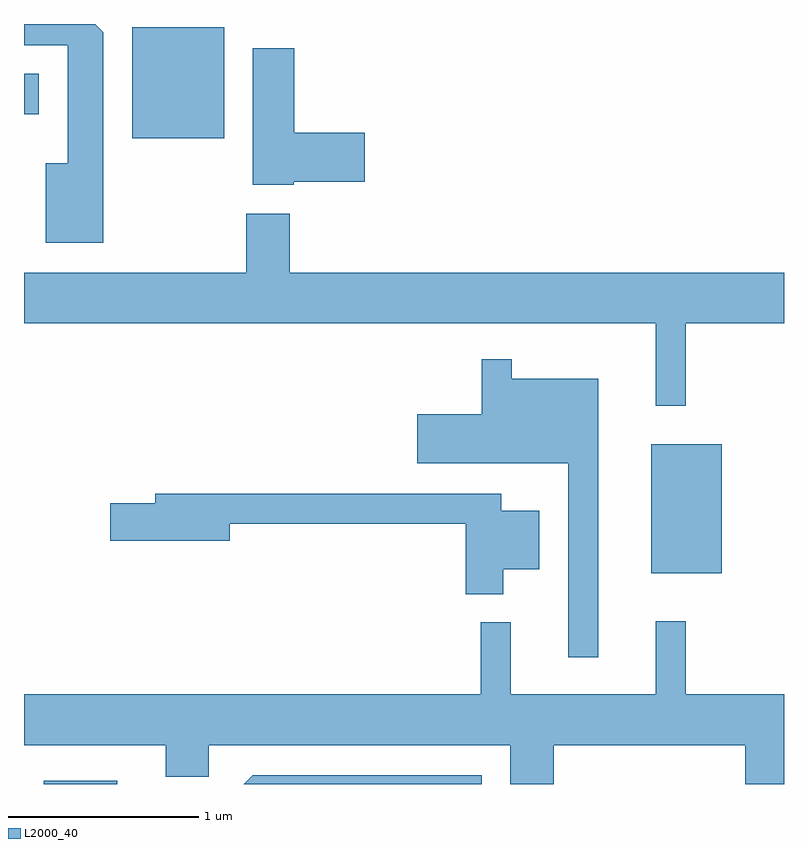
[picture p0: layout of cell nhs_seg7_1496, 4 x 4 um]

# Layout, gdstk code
import gdstk
lib = gdstk.Library(unit=1e-6, precision=1e-09)
def R(c, l, rs):  # rectangles x0, y0, x1, y1
    for r in rs: c.add(gdstk.rectangle(r[:2], r[2:], *l))
def P(c, l, *ps):  # polygons
    for p in ps: c.add(gdstk.Polygon(p, *l))
L2000_40 = (2000, 40)

nhs_seg7_1496 = lib.new_cell('nhs_seg7_1496')
R(nhs_seg7_1496, L2000_40, [(229.716,1796.252,230.103,1796.269), (232.911,1797.361,233.284,1798.039), (230.181,1799.651,230.664,1800.234), (229.611,1799.776,229.689,1799.989)])
P(nhs_seg7_1496, L2000_40, [(230.029,1800.209),(229.986,1800.252),(229.611,1800.252),(229.611,1800.141),(229.841,1800.141),(229.841,1799.519),(229.726,1799.519),(229.726,1799.101),(230.029,1799.101)],
  [(231.03,1799.421),(231.404,1799.421),(231.404,1799.679),(231.034,1799.679),(231.034,1800.124),(230.816,1800.124),(230.816,1799.406),(231.03,1799.406)],
  [(233.094,1798.676),(233.611,1798.676),(233.611,1798.944),(231.009,1798.944),(231.009,1799.254),(230.781,1799.254),(230.781,1798.944),(229.611,1798.944),(229.611,1798.676),(232.936,1798.676),(232.936,1798.243),(233.094,1798.243)],
  [(232.634,1798.384),(232.179,1798.384),(232.179,1798.488),(232.021,1798.488),(232.021,1798.199),(231.681,1798.199),(231.681,1797.941),(232.476,1797.941),(232.476,1796.918),(232.634,1796.918)],
  [(232.134,1797.381),(232.324,1797.381),(232.324,1797.689),(232.124,1797.689),(232.124,1797.779),(230.301,1797.779),(230.301,1797.729),(230.066,1797.729),(230.066,1797.531),(230.694,1797.531),(230.694,1797.621),(231.936,1797.621),(231.936,1797.251),(232.134,1797.251)],
  [(232.399,1796.456),(233.406,1796.456),(233.406,1796.252),(233.611,1796.252),(233.611,1796.724),(233.094,1796.724),(233.094,1797.108),(232.936,1797.108),(232.936,1796.724),(232.174,1796.724),(232.174,1797.103),(232.016,1797.103),(232.016,1796.724),(229.611,1796.724),(229.611,1796.456),(230.356,1796.456),(230.356,1796.291),(230.584,1796.291),(230.584,1796.456),(232.171,1796.456),(232.171,1796.252),(232.399,1796.252)],
  [(232.019,1796.299),(230.814,1796.299),(230.767,1796.252),(232.019,1796.252)])

lib.write_gds('nhs_seg7_1496.gds')
